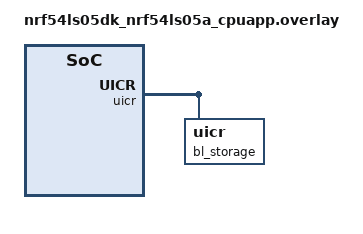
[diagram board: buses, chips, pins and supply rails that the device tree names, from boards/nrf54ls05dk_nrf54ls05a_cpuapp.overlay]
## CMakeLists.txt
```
#
# Copyright (c) 2020 Nordic Semiconductor ASA
#
# SPDX-License-Identifier: LicenseRef-Nordic-5-Clause
#

cmake_minimum_required(VERSION 3.13.1)

find_package(Zephyr REQUIRED HINTS $ENV{ZEPHYR_BASE})
project(NONE)

FILE(GLOB app_sources src/*.c)
target_sources(app PRIVATE ${app_sources})
```

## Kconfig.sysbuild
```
#
# Copyright (c) 2024 Nordic Semiconductor ASA
#
# SPDX-License-Identifier: LicenseRef-Nordic-5-Clause
#

if SOC_SERIES_NRF54L

config SECURE_BOOT_GENERATE_DEFAULT_KMU_KEYFILE
	default y if SECURE_BOOT_APPCORE && !(SOC_NRF54LS05A_CPUAPP || \
		SOC_NRF54LS05B_CPUAPP || SOC_NRF54LM20A_CPUAPP)

endif

choice SECURE_BOOT_SIGNATURE_TYPE
	default SECURE_BOOT_SIGNATURE_TYPE_ECDSA if SOC_NRF54LS05A_CPUAPP || \
		SOC_NRF54LS05B_CPUAPP || SOC_NRF54LM20A_CPUAPP
endchoice

# nRF54LS05 has no CRACEN/KMU. nRF54LM20 KMU key provision is not supported by
# nrfutil. Use a single signing key at index 0. Multi-key debug provisioning
# causes b0 to hang when invalidating older keys in UICR after a successful
# signature check on nRF54LS05.
configdefault SECURE_BOOT_PUBLIC_KEY_FILES
	default "" if SOC_NRF54LS05A_CPUAPP || SOC_NRF54LS05B_CPUAPP || SOC_NRF54LM20A_CPUAPP
	default "debug"

configdefault SECURE_BOOT_DEBUG_SIGNATURE_PUBLIC_KEY_LAST
	default n if SOC_NRF54LS05A_CPUAPP || SOC_NRF54LS05B_CPUAPP || SOC_NRF54LM20A_CPUAPP
	default y

configdefault SECURE_BOOT_BUILD_S1_VARIANT_IMAGE
	default n

source "share/sysbuild/Kconfig"
```

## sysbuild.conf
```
#
# Copyright (c) 2024 Nordic Semiconductor
#
# SPDX-License-Identifier: LicenseRef-Nordic-5-Clause
#

SB_CONFIG_SECURE_BOOT_APPCORE=y
SB_CONFIG_SECURE_BOOT_PUBLIC_KEY_FILES="debug"
```

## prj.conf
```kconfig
#
# Copyright (c) 2020-2023 Nordic Semiconductor ASA
#
# SPDX-License-Identifier: LicenseRef-Nordic-5-Clause
#

CONFIG_ZTEST=y
CONFIG_SECURE_BOOT=y
CONFIG_FW_INFO=y
CONFIG_SECURE_BOOT_CRYPTO=y
CONFIG_SECURE_BOOT_VALIDATION=y
CONFIG_SECURE_BOOT_STORAGE=y
# Ineffective here: unsatisfied dependency FLASH_HAS_DRIVER_ENABLED (FLASH is not enabled), so
# FLASH_MAP stays n.
# CONFIG_FLASH_MAP=y
CONFIG_NRFX_NVMC=y
CONFIG_MPU_ALLOW_FLASH_WRITE=y
CONFIG_REBOOT=y
CONFIG_SECURE_BOOT_STORAGE=y
CONFIG_NULL_POINTER_EXCEPTION_DETECTION_NONE=y
CONFIG_LOG_MODE_MINIMAL=y
```

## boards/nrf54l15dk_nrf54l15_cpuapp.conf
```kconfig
#
# Copyright (c) 2026 Nordic Semiconductor ASA
#
# SPDX-License-Identifier: LicenseRef-Nordic-5-Clause
#

# nRF54L uses Ed25519 + KMU for secure boot; match validation metadata layout to b0/signing.
CONFIG_SB_CRYPTO_PSA_ED25519=y
CONFIG_SB_CRYPTO_NONE=y
```

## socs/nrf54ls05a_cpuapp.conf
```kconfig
# Copyright (c) 2026 Nordic Semiconductor ASA
#
# SPDX-License-Identifier: LicenseRef-Nordic-5-Clause
#
CONFIG_NRFX_NVMC=n
CONFIG_NRFX_RRAMC=y
CONFIG_SB_CRYPTO_OBERON_ECDSA_SECP256R1=y
CONFIG_SB_CRYPTO_OBERON_SHA256=y

# MPU_ALLOW_FLASH_WRITE depends on ARM_MPU, which the nRF54LS05 DK board does not enable.
CONFIG_MPU_ALLOW_FLASH_WRITE=n
```

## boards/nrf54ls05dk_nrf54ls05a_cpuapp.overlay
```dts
/*
 * Copyright (c) 2026 Nordic Semiconductor ASA
 *
 * SPDX-License-Identifier: LicenseRef-Nordic-5-Clause
 */

&cpuapp_rram {
	/delete-node/ partitions;

	partitions {
		ranges;
		#address-cells = <1>;
		#size-cells = <1>;

		b0_partition: partition@0 {
			compatible = "zephyr,mapped-partition";
			reg = <0x0 DT_SIZE_K(64)>;
		};

		s0_partition: partition@10000 {
			compatible = "zephyr,mapped-partition";
			reg = <0x10000 DT_SIZE_K(128)>;
		};

		s1_partition: partition@30000 {
			compatible = "zephyr,mapped-partition";
			reg = <0x30000 DT_SIZE_K(128)>;
		};

		revocation_partition: partition@50000 {
			compatible = "zephyr,mapped-partition";
			reg = <0x50000 0x8>;
		};
	};
};

/ {
	chosen {
		zephyr,code-partition = &s0_partition;
	};
};

&uicr {
	ranges = <0x0 0xffd000 0x1000>;
	#address-cells = <1>;
	#size-cells = <1>;

	bl_storage: uicr@500 {
		reg = <0x500 0x460>;
	};
};
```

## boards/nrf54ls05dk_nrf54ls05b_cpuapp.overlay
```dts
/*
 * Copyright (c) 2026 Nordic Semiconductor ASA
 *
 * SPDX-License-Identifier: LicenseRef-Nordic-5-Clause
 */

&cpuapp_rram {
	/delete-node/ partitions;

	partitions {
		ranges;
		#address-cells = <1>;
		#size-cells = <1>;

		b0_partition: partition@0 {
			compatible = "zephyr,mapped-partition";
			reg = <0x0 DT_SIZE_K(64)>;
		};

		s0_partition: partition@10000 {
			compatible = "zephyr,mapped-partition";
			reg = <0x10000 DT_SIZE_K(128)>;
		};

		s1_partition: partition@30000 {
			compatible = "zephyr,mapped-partition";
			reg = <0x30000 DT_SIZE_K(128)>;
		};

		/* RRAM shadow for UICR key revocation (nRF54L UICR OTP cannot be reprogrammed). */
		revocation_partition: partition@50000 {
			compatible = "zephyr,mapped-partition";
			reg = <0x50000 0x8>;
		};
	};
};

/ {
	chosen {
		zephyr,code-partition = &s0_partition;
	};
};

&uicr {
	ranges = <0x0 0xffd000 0x1000>;
	#address-cells = <1>;
	#size-cells = <1>;

	bl_storage: uicr@500 {
		reg = <0x500 0x460>;
	};
};
```

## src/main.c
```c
/*
 * Copyright (c) 2020 Nordic Semiconductor ASA
 *
 * SPDX-License-Identifier: LicenseRef-Nordic-5-Clause
 */

#include <zephyr/ztest.h>
#include <fw_info.h>
#if defined(CONFIG_NRFX_RRAMC)
#include <haly/nrfy_rramc.h>
#define PROTECTION_BLOCK_SIZE 0x800

static void rram_words_write(uint32_t address, const void *src, uint32_t num_words)
{
	nrfy_rramc_words_write(NRF_RRAMC, address, src, num_words);
}
#else
#include <nrfx_nvmc.h>
#define PROTECTION_BLOCK_SIZE 0x8000
#endif
#include <zephyr/linker/linker-defs.h>
#include <zephyr/sys/reboot.h>
#include <zephyr/sys/util.h>
#include <zephyr/storage/flash_map.h>
#include <zephyr/devicetree.h>
#include <bl_storage.h>

#define S0_SLOT_ADDRESS PARTITION_ADDRESS(s0_partition)
#define S0_SLOT_SIZE PARTITION_SIZE(s0_partition)
#define S1_SLOT_ADDRESS PARTITION_ADDRESS(s1_partition)

/* These symbols are defined in linker scripts. */
extern const uint32_t _ext_apis_size[];
extern const uint32_t _ext_apis_req_size[];

extern const struct fw_info m_firmware_info;

#define VAL_INFO_MAX_SIZE 0x1000
uint32_t val_info_buf[VAL_INFO_MAX_SIZE];

ZTEST(test_bl_validation_neg, test_validation_neg1)
{
	uint32_t copy_len = ROUND_UP((uint32_t)_flash_used, 4);

#if defined(CONFIG_NRFX_RRAMC)
	/* b0 write-protects the active slot (s0); place the displaced image in s1. */
	uint32_t new_addr = ROUND_UP(S1_SLOT_ADDRESS + CONFIG_SB_IMAGE_BOOT_OFFSET,
				     PROTECTION_BLOCK_SIZE);
#else
	/* Round up to at least the next protection region. */
	uint32_t new_addr = ROUND_UP(S0_SLOT_ADDRESS + (S0_SLOT_SIZE / 2),
				     PROTECTION_BLOCK_SIZE);
#endif

	const struct fw_info s1_info = {
		.magic = {FIRMWARE_INFO_MAGIC},
		.total_size = S0_SLOT_ADDRESS - S1_SLOT_ADDRESS,
		.size = ((uint32_t)_flash_used),
		.version = CONFIG_FW_INFO_FIRMWARE_VERSION + 1,
		.address = new_addr,
		.boot_address = new_addr,
		.valid = CONFIG_FW_INFO_VALID_VAL,
		.reserved = {0, 0, 0, 0},
		.ext_api_num = 0,
		.ext_api_request_num = 0,
	};

	const struct fw_info *s1_info_copied = fw_info_find(S1_SLOT_ADDRESS);

	if (s1_info_copied) {
		/* Second boot */
		zassert_not_equal(CONFIG_FW_INFO_VALID_VAL,
			s1_info_copied->valid, "Failed to invalidate S1.\r\n");
		zassert_equal((uint32_t)s1_info_copied, S1_SLOT_ADDRESS,
			"S1 info found at wrong address.\r\n");
#if defined(CONFIG_NRFX_RRAMC)
		rram_words_write(S1_SLOT_ADDRESS, (const uint32_t *)&(uint32_t){0},
			ROUND_UP(sizeof(struct fw_info), 4) / 4);
#else
		int ret = nrfx_nvmc_page_erase(S1_SLOT_ADDRESS);

		zassert_equal(0, ret, "Erase failed.\r\n");
#endif
	} else {
		/* First boot */

		/* Copy app */
#if defined(CONFIG_NRFX_RRAMC)
		rram_words_write(new_addr, (const uint32_t *)S0_SLOT_ADDRESS,
			copy_len / 4);
#else
		for (uint32_t erase_addr = new_addr;
			erase_addr < (new_addr + copy_len);
			erase_addr += DT_PROP(DT_CHOSEN(zephyr_flash),
							erase_block_size)) {
			int ret = nrfx_nvmc_page_erase(new_addr);

			zassert_equal(0, ret, "Erase failed.\r\n");
		}
		nrfx_nvmc_words_write(new_addr, (const uint32_t *)S0_SLOT_ADDRESS,
			copy_len / 4);
#endif

		/* Write to S1 */
#if defined(CONFIG_NRFX_RRAMC)
		rram_words_write(S1_SLOT_ADDRESS, (const uint32_t *)&s1_info,
			ROUND_UP(sizeof(s1_info), 4) / 4);
#else
		nrfx_nvmc_words_write(S1_SLOT_ADDRESS, &s1_info,
			ROUND_UP(sizeof(s1_info), 4) / 4);
#endif

		zassert_mem_equal(&s1_info, (void *)S1_SLOT_ADDRESS,
			sizeof(s1_info), "Failed to copy S1 info.\r\n");

		s1_info_copied = fw_info_find(S1_SLOT_ADDRESS);
		zassert_equal((uint32_t)s1_info_copied, S1_SLOT_ADDRESS,
			"S1 info wrongly copied.\r\n");

		/* Modify copied app's validation info */
		memcpy(val_info_buf, (const uint32_t *)(S0_SLOT_ADDRESS + copy_len),
			VAL_INFO_MAX_SIZE);

		struct __packed {
			uint32_t magic[MAGIC_LEN_WORDS];
			uint32_t address;
		} *val_info = (void *)(val_info_buf);

		const uint32_t validation_info_magic[] = {VALIDATION_INFO_MAGIC};

		zassert_mem_equal(validation_info_magic, val_info->magic,
			MAGIC_LEN_WORDS*4,
			"Could not find validation info.\r\n");

		val_info->address = s1_info.address;
#if defined(CONFIG_NRFX_RRAMC)
		rram_words_write(s1_info.address + ROUND_UP(s1_info.size, 4), val_info,
			VAL_INFO_MAX_SIZE);
#else
		nrfx_nvmc_words_write(s1_info.address + ROUND_UP(s1_info.size, 4), val_info,
			VAL_INFO_MAX_SIZE);
#endif

		/* Reboot */
		printk("Rebooting. Should fail to validate slot 1.");
		sys_reboot(0);
		zassert_true(false, "should not come here.");
	}
}


ZTEST(test_bl_validation_neg, test_validation_neg2)
{
	/* Skipped on platforms in bootloader.bl_validation.negative.no_otp_keys. */
#if defined(CONFIG_SOC_SERIES_NRF52) || defined(CONFIG_SOC_SERIES_NRF54L)
	ztest_test_skip();
#else
	uint32_t num_public_keys = num_public_keys_read();
	bool any_valid = false;

	__aligned(4) uint8_t key_data[SB_PUBLIC_KEY_HASH_LEN];

	for (uint32_t key_data_idx = 0; key_data_idx < num_public_keys;
			key_data_idx++) {
		int retval = public_key_data_read(key_data_idx, key_data);
		if (retval != -EINVAL) {
			zassert_equal(SB_PUBLIC_KEY_HASH_LEN, retval,
				"Unexpected public key error, %d.", retval);
			invalidate_public_key(key_data_idx);
			any_valid = true;
		}
	}
	zassert_true(any_valid,
		"All public keys invalidated, should not have booted!");
	printk("Rebooting. Should fail to validate because of invalid public "
		"keys.");
	sys_reboot(0);
	zassert_true(false, "should not come here.");
#endif
}


ZTEST_SUITE(test_bl_validation_neg, NULL, NULL, NULL, NULL, NULL);
```
